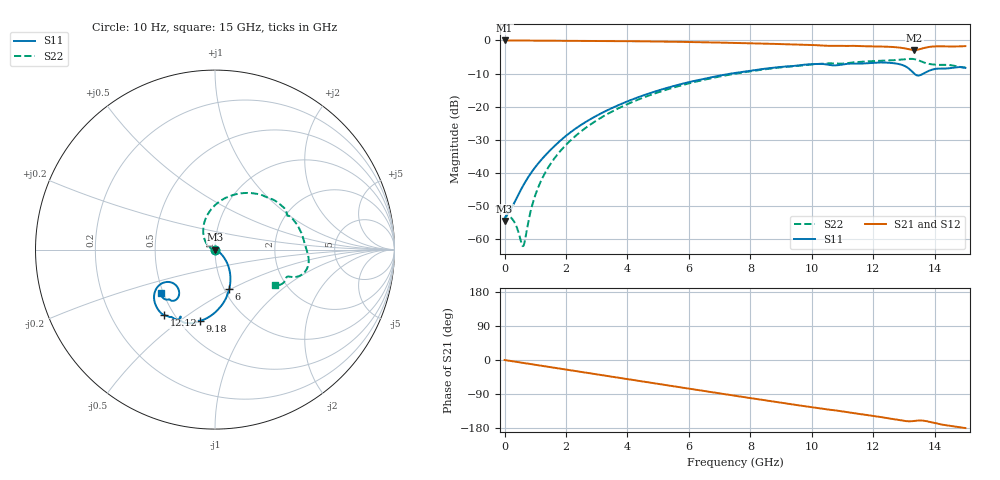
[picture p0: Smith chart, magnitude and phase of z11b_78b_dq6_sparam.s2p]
![Disclaimer] This software code/ model/ data and all associated documentation, comments
!    or other information (collectively "Software") is provided
!    "AS IS" without warranty of any kind. MICRON TECHNOLOGY, INC.
!   ("MTI") EXPRESSLY DISCLAIMS ALL WARRANTIES EXPRESS OR IMPLIED,
!    INCLUDING BUT NOT LIMITED TO, NONINFRINGEMENT OF THIRD PARTY
!   RIGHTS, AND ANY IMPLIED WARRANTIES OF MERCHANTABILITY OR FITNESS
!    FOR ANY PARTICULAR PURPOSE. MTI DOES NOT WARRANT THAT THE
!    SOFTWARE WILL MEET YOUR REQUIREMENTS, OR THAT THE OPERATION OF
!    THE SOFTWARE WILL BE UNINTERRUPTED OR ERROR-FREE. FURTHERMORE,
!    MTI DOES NOT MAKE ANY REPRESENTATIONS REGARDING THE USE OR THE
!    RESULTS OF THE USE OF THE SOFTWARE IN TERMS OF ITS CORRECTNESS,
!    ACCURACY, RELIABILITY, OR OTHERWISE. THE ENTIRE RISK ARISING OUT
!    OF USE OR PERFORMANCE OF THE SOFTWARE REMAINS WITH YOU. IN NO
!    EVENT SHALL MTI, ITS AFFILIATED COMPANIES OR THEIR SUPPLIERS BE
!    LIABLE FOR ANY DIRECT, INDIRECT, CONSEQUENTIAL, INCIDENTAL, OR
!    SPECIAL DAMAGES (INCLUDING, WITHOUT LIMITATION, DAMAGES FOR LOSS
!    OF PROFITS, BUSINESS INTERRUPTION, OR LOSS OF INFORMATION)
!    ARISING OUT OF YOUR USE OF OR INABILITY TO USE THE SOFTWARE,
!    EVEN IF MTI HAS BEEN ADVISED OF THE POSSIBILITY OF SUCH DAMAGES.
!    Because some jurisdictions prohibit the exclusion or limitation
!    of liability for consequential or incidental damages, the above
!    limitation may not apply to you.
!    Copyright 2019 Micron Technology, Inc. All rights reserved.
! Single-ended  S-parameters
!NUMBER OF PORTS = 2
!  PORT#  PORT_NAME  NET_NAME
! PORT1:  DQ6.BGA.VDDQ_VSS DQ6
! PORT2:  DQ6.Z11B_DIE.VDDQ_VSS DQ6
# HZ S  RI R 5.000000e+001
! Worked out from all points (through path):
!   1701 points, 10 Hz to 15 GHz, reference 50 ohm
!   highest |S21| = -0.02 dB at 3.981 kHz (marker M1); lowest = -2.9 dB at 13.34 GHz (marker M2)
!   group delay of S21, straight-line fit = 33.7 ps
!   lowest |S11| = -54.5 dB at 10 Hz (marker M3), VSWR 1.00, Z = 50.2 + j4.73e-08 ohm
!   |S11| at or under -10 dB: start of sweep to 7.379 GHz; 13.33 GHz to 13.64 GHz (312.6 MHz wide, 2.32 % of centre)
!   |S22| runs from -62.1 to -5.6 dB; largest |S21 - S12| = 0
!   S11 on the Smith chart (normalised r, x): 10 Hz: 1.00, +0.00; 6 GHz: 1.05, -0.49; 9.18 GHz: 0.63, -0.59; 12.12 GHz: 0.44, -0.41; 15 GHz: 0.49, -0.28
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10  0.00188 4.71e-10  0.9981 -2.86e-09  0.9981 -2.86e-09  0.00188 4.73e-10
3981.07  0.00188 1.87e-07  0.9981 -1.14e-06  0.9981 -1.14e-06  0.00188 1.88e-07
6.30957e7  0.00231 5.29e-05  0.9974 -0.0145  0.9974 -0.0145  0.00226 7.34e-05
2.4e8  0.003 -0.000377  0.9954 -0.054  0.9954 -0.054  0.00202 -0.000249
5.5e8  0.00551 -0.00176  0.9876 -0.1222  0.9876 -0.1222  0.000474 -0.000719
6.1e8  0.00613 -0.00214  0.9855 -0.1352  0.9855 -0.1352  -4.35e-06 -0.000789
9.4e8  0.0101 -0.00486  0.9715 -0.2055  0.9715 -0.2055  -0.00371 -0.00078
1.28e9  0.0153 -0.00851  0.9521 -0.2766  0.9521 -0.2766  -0.00927 0.000411
1.8e9  0.0255 -0.0162  0.9123 -0.3817  0.9123 -0.3817  -0.0202 0.00562
2.51e9  0.0421 -0.0334  0.8392 -0.5158  0.8392 -0.5158  -0.0377 0.0208
3.61e9  0.0674 -0.0748  0.6864 -0.696  0.6864 -0.696  -0.0609 0.0658
5.01e9  0.0858 -0.1534  0.4354 -0.8579  0.4354 -0.8579  -0.0585 0.1545
6e9  0.0789 -0.2208  0.2355 -0.9166  0.2355 -0.9166  -0.0222 0.2234
7.51e9  0.0274 -0.3214  -0.0705 -0.9125  -0.0705 -0.9125  0.0899 0.3004
9.18e9  -0.0832 -0.3952  -0.3686 -0.7917  -0.3686 -0.7917  0.2607 0.3039
1.001e10  -0.1518 -0.4102  -0.4883 -0.6988  -0.4883 -0.6988  0.3414 0.2683
1.212e10  -0.2829 -0.3657  -0.6937 -0.4165  -0.6937 -0.4165  0.4819 0.0918
1.251e10  -0.32 -0.3298  -0.7212 -0.349  -0.7212 -0.349  0.4965 0.0451
1.302e10  -0.336 -0.2388  -0.7169 -0.2494  -0.7169 -0.2494  0.5184 -0.0291
1.334e10  -0.2552 -0.1806  -0.6764 -0.2361  -0.6764 -0.2361  0.5086 -0.1131
1.394e10  -0.2277 -0.2846  -0.7815 -0.2079  -0.7815 -0.2079  0.4066 -0.1499
1.5e10  -0.3008 -0.2407  -0.8199 -0.00556  -0.8199 -0.00556  0.3359 -0.1972
